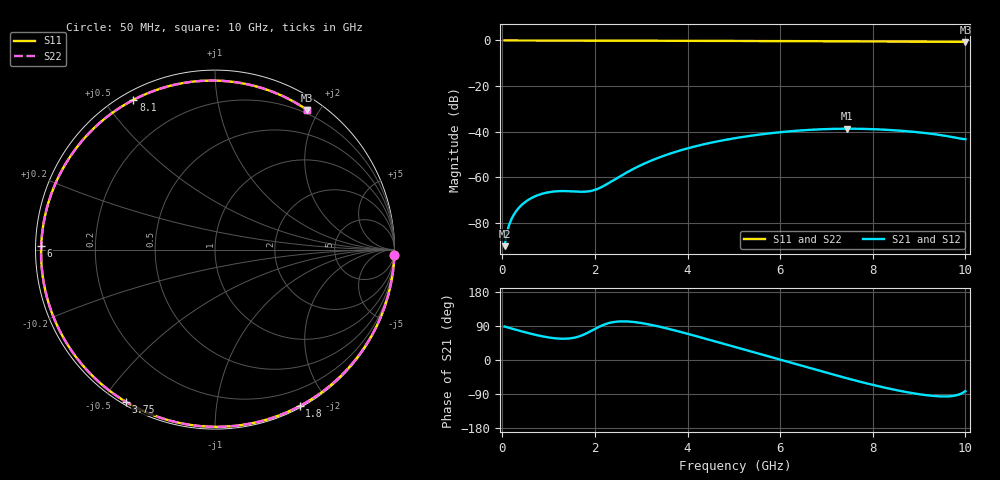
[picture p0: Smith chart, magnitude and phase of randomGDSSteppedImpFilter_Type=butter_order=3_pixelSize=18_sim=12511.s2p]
! freq	dB(S11)	phase(S11)	dB(S12)	phase(S12)
!  dB(S21)	phase(S21)	dB(S22)	phase(S22)
!S-par simulation data
#  GHz  S  DB  R 50
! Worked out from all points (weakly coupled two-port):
!   200 points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, 50 MHz to 10 GHz, reference 50 ohm
!   highest |S21| = -38.65 dB at 7.45 GHz (marker M1); lowest = -90.1 dB at 50 MHz (marker M2)
!   lowest |S11| = -0.6 dB at 10 GHz (marker M3), VSWR 28.42, Z = 7.81 + j92.5 ohm
!   |S11| at or under -10 dB: nowhere
!   |S22| runs from -0.6 to 0.0 dB; largest |S21 - S12| = 0
!   S11 on the Smith chart (normalised r, x): 50 MHz: 0, -64; 1.8 GHz: 0.02, -1.68; 3.75 GHz: 0.01, -0.57; 6 GHz: 0.02, +0.01; 8.1 GHz: 0.03, +0.59; 10 GHz: 0.16, +1.85
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0.05  -0.00 -1.8  -90.10 88.2  -90.10 88.2  -0.00 -1.8
0.15  -0.01 -5.3  -80.60 84.8  -80.60 84.8  -0.01 -5.3
0.3  -0.02 -10.6  -74.74 79.6  -74.74 79.6  -0.02 -10.6
0.4  -0.02 -14.1  -72.40 76.2  -72.40 76.2  -0.02 -14.1
0.75  -0.03 -26.3  -67.90 65.5  -67.90 65.5  -0.03 -26.3
1.15  -0.05 -40.1  -66.09 57.1  -66.09 57.1  -0.05 -40.1
1.75  -0.07 -60.0  -66.27 66.5  -66.27 66.5  -0.07 -60.0
1.8  -0.08 -61.6  -66.23 69.3  -66.23 69.3  -0.08 -61.6
2.1  -0.09 -71.3  -64.62 88.3  -64.62 88.3  -0.09 -71.3
2.6  -0.11 -86.8  -58.82 102.0  -58.82 102.0  -0.11 -86.8
3.4  -0.14 -110.4  -51.16 87.8  -51.16 87.8  -0.14 -110.4
3.75  -0.15 -120.3  -48.74 77.2  -48.74 77.2  -0.15 -120.3
4.4  -0.18 -138.2  -45.25 55.7  -45.25 55.7  -0.18 -138.2
5.05  -0.22 -155.8  -42.71 33.5  -42.71 33.5  -0.22 -155.8
6  -0.28 178.7  -40.19 0.7  -40.19 0.7  -0.28 178.7
6.7  -0.33 159.5  -39.08 -23.4  -39.08 -23.4  -0.33 159.5
7.45  -0.39 138.1  -38.65 -48.5  -38.65 -48.5  -0.39 138.1
8.1  -0.45 118.6  -38.93 -68.5  -38.93 -68.5  -0.45 118.6
8.35  -0.47 110.8  -39.19 -75.4  -39.19 -75.4  -0.47 110.8
8.8  -0.50 96.5  -39.87 -86.3  -39.87 -86.3  -0.50 96.5
9.2  -0.54 83.4  -40.71 -93.5  -40.71 -93.5  -0.54 83.4
10  -0.61 56.5  -43.26 -82.2  -43.26 -82.2  -0.61 56.5
